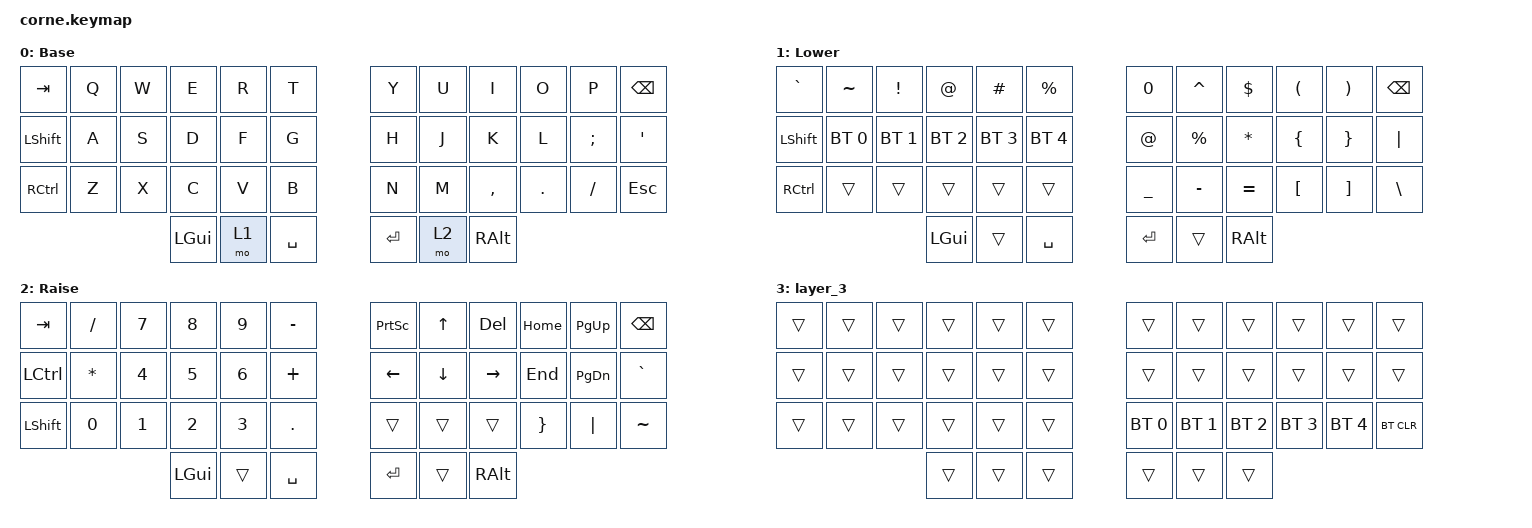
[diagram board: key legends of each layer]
/*
 * Copyright (c) 2020 The ZMK Contributors
 *
 * SPDX-License-Identifier: MIT
 */

#include <behaviors.dtsi>
#include <dt-bindings/zmk/bt.h>
#include <dt-bindings/zmk/keys.h>

/ {
    macros {
        new_macro: new_macro {
            compatible = "zmk,behavior-macro";
            #binding-cells = <0>;
            bindings = <&macro_tap>;
            label = "NEW_MACRO";
        };
    };

    keymap {
        compatible = "zmk,keymap";

        default_layer {
            // -----------------------------------------------------------------------------------------
            // |  TAB |  Q  |  W  |  E  |  R  |  T  |   |  Y  |  U   |  I  |  O  |  P  | BKSP |
            // | CTRL |  A  |  S  |  D  |  F  |  G  |   |  H  |  J   |  K  |  L  |  ;  |  '   |
            // | SHFT |  Z  |  X  |  C  |  V  |  B  |   |  N  |  M   |  ,  |  .  |  /  | ESC  |
            //                    | GUI | LWR | SPC |   | ENT | RSE  | ALT |

            display-name = "Base";
            bindings = <
&kp TAB     &kp Q  &kp W  &kp E     &kp R  &kp T        &kp Y    &kp U  &kp I      &kp O    &kp P     &kp BSPC
&kp LSHIFT  &kp A  &kp S  &kp D     &kp F  &kp G        &kp H    &kp J  &kp K      &kp L    &kp SEMI  &kp SQT
&kp RCTRL   &kp Z  &kp X  &kp C     &kp V  &kp B        &kp N    &kp M  &kp COMMA  &kp DOT  &kp FSLH  &kp ESC
                          &kp LGUI  &mo 1  &kp SPACE    &kp RET  &mo 2  &kp RALT
            >;
        };

        lower_layer {
            // -----------------------------------------------------------------------------------------
            // |  TAB |  1  |  2  |  3  |  4  |  5  |   |  6  |  7  |  8  |  9  |  0  | BKSP |
            // | BTCLR| BT1 | BT2 | BT3 | BT4 | BT5 |   | LFT | DWN |  UP | RGT |     |      |
            // | SHFT |     |     |     |     |     |   |     |     |     |     |     |      |
            //                    | GUI |     | SPC |   | ENT |     | ALT |

            display-name = "Lower";
            bindings = <
&kp GRAVE       &kp TILDE     &kp EXCLAMATION  &kp AT_SIGN   &kp HASH      &kp PERCENT     &kp N0          &kp CARET    &kp DOLLAR    &kp LEFT_PARENTHESIS  &kp RIGHT_PARENTHESIS  &kp BSPC
&kp LEFT_SHIFT  &bt BT_SEL 0  &bt BT_SEL 1     &bt BT_SEL 2  &bt BT_SEL 3  &bt BT_SEL 4    &kp AT_SIGN     &kp PERCENT  &kp ASTERISK  &kp LEFT_BRACE        &kp RIGHT_BRACE        &kp PIPE
&kp RCTRL       &trans        &trans           &trans        &trans        &trans          &kp UNDERSCORE  &kp MINUS    &kp EQUAL     &kp LEFT_BRACKET      &kp RIGHT_BRACKET      &kp BACKSLASH
                                               &kp LGUI      &trans        &kp SPACE       &kp RET         &trans       &kp RALT
            >;
        };

        raise_layer {
            // -----------------------------------------------------------------------------------------
            // |  TAB |  !  |  @  |  #  |  $  |  %  |   |  ^  |  &  |  *  |  (  |  )  | BKSP |
            // | CTRL |     |     |     |     |     |   |  -  |  =  |  [  |  ]  |  \  |  `   |
            // | SHFT |     |     |     |     |     |   |  _  |  +  |  {  |  }  | "|" |  ~   |
            //                    | GUI |     | SPC |   | ENT |     | ALT |

            display-name = "Raise";
            bindings = <
&kp TAB    &kp SLASH     &kp N7        &kp N8        &kp N9        &kp MINUS     &kp PRINTSCREEN  &kp UP_ARROW  &kp DELETE  &kp HOME  &kp PAGE_UP    &kp BSPC
&kp LCTRL  &kp ASTERISK  &kp NUMBER_4  &kp N5        &kp NUMBER_6  &kp PLUS      &kp LEFT         &kp DOWN      &kp RIGHT   &kp END   &kp PAGE_DOWN  &kp GRAVE
&kp LSHFT  &kp N0        &kp NUMBER_1  &kp NUMBER_2  &kp NUMBER_3  &kp PERIOD    &trans           &trans        &trans      &kp RBRC  &kp PIPE       &kp TILDE
                                       &kp LGUI      &trans        &kp SPACE     &kp RET          &trans        &kp RALT
            >;
        };

        layer_3 {
            bindings = <
&trans  &trans  &trans  &trans  &trans  &trans    &trans        &trans        &trans        &trans        &trans        &trans
&trans  &trans  &trans  &trans  &trans  &trans    &trans        &trans        &trans        &trans        &trans        &trans
&trans  &trans  &trans  &trans  &trans  &trans    &bt BT_SEL 0  &bt BT_SEL 1  &bt BT_SEL 2  &bt BT_SEL 3  &bt BT_SEL 4  &bt BT_CLR
                        &trans  &trans  &trans    &trans        &trans        &trans
            >;
        };
    };

    conditional_layers {
        compatible = "zmk,conditional-layers";

        layer_3 {
            if-layers = <1 2>;
            then-layer = <3>;
        };
    };
};
